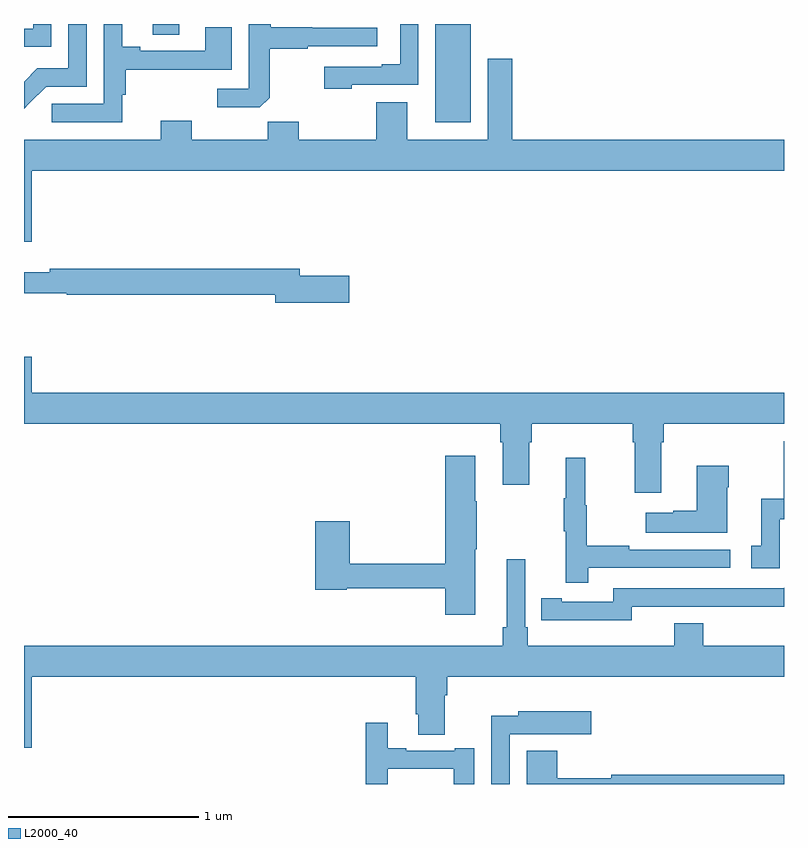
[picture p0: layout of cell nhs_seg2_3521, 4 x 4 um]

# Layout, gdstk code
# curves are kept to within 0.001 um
import gdstk
lib = gdstk.Library(unit=1e-6, precision=1e-09)
def R(c, l, rs):  # rectangles x0, y0, x1, y1
    for r in rs: c.add(gdstk.rectangle(r[:2], r[2:], *l))
def P(c, l, *ps):  # polygons
    for p in ps: c.add(gdstk.Polygon(p, *l))
L2000_40 = (2000, 40)

nhs_seg2_3521 = lib.new_cell('nhs_seg2_3521')
R(nhs_seg2_3521, L2000_40, [(299.165,589.283,299.35,589.8), (297.677,589.744,297.817,589.8)])
P(nhs_seg2_3521, L2000_40, [(297.025,589.38),(297.026,589.379),(297.117,589.47),(297.33,589.47),(297.33,589.8),(297.234,589.8),(297.234,589.566),(297.071,589.566),(297,589.495),(297,589.355)],
  [(297.518,589.427),(297.536,589.427),(297.536,589.558),(298.093,589.558),(298.093,589.784),(297.953,589.784),(297.953,589.659),(297.613,589.659),(297.613,589.679),(297.517,589.679),(297.517,589.8),(297.42,589.8),(297.42,589.38),(297.147,589.38),(297.147,589.284),(297.518,589.284)],
  [(297.144,589.8),(297.048,589.8),(297.048,589.776),(297,589.776),(297,589.68),(297.144,589.68)],
  [(298.293,589.413),(298.293,589.671),(298.493,589.671),(298.493,589.683),(298.858,589.683),(298.858,589.78),(298.517,589.78),(298.517,589.784),(298.298,589.784),(298.298,589.8),(298.182,589.8),(298.182,589.458),(298.017,589.458),(298.017,589.362),(298.241,589.362)],
  [(298.725,589.479),(299.076,589.479),(299.076,589.8),(298.98,589.8),(298.98,589.588),(298.883,589.588),(298.883,589.575),(298.581,589.575),(298.581,589.46),(298.725,589.46)],
  [(297.04,589.028),(301,589.028),(301,589.192),(299.57,589.192),(299.57,589.618),(299.441,589.618),(299.441,589.192),(299.017,589.192),(299.017,589.387),(298.853,589.387),(298.853,589.192),(298.447,589.192),(298.447,589.285),(298.283,589.285),(298.283,589.192),(297.883,589.192),(297.883,589.291),(297.719,589.291),(297.719,589.192),(297,589.192),(297,588.654),(297.04,588.654)],
  [(298.711,588.476),(298.45,588.476),(298.45,588.512),(297.136,588.512),(297.136,588.493),(297,588.493),(297,588.384),(297.226,588.384),(297.226,588.376),(298.322,588.376),(298.322,588.334),(298.711,588.334)],
  [(297.04,588.049),(297,588.049),(297,587.696),(299.507,587.696),(299.507,587.6),(299.519,587.6),(299.519,587.376),(299.659,587.376),(299.659,587.6),(299.672,587.6),(299.672,587.696),(300.203,587.696),(300.203,587.6),(300.215,587.6),(300.215,587.334),(300.355,587.334),(300.355,587.6),(300.368,587.6),(300.368,587.696),(301,587.696),(301,587.86),(297.04,587.86)],
  [(300.978,587.193),(301,587.193),(301,587.604),(300.999,587.604),(300.999,587.302),(300.881,587.302),(300.881,587.055),(300.828,587.055),(300.828,586.935),(300.978,586.935)],
  [(299.374,587.035),(299.382,587.035),(299.382,587.288),(299.374,587.288),(299.374,587.527),(299.216,587.527),(299.216,586.958),(298.715,586.958),(298.715,587.182),(298.532,587.182),(298.532,586.822),(298.698,586.822),(298.698,586.83),(299.216,586.83),(299.216,586.692),(299.374,586.692)],
  [(299.969,586.938),(300.718,586.938),(300.718,587.034),(300.185,587.034),(300.185,587.054),(299.962,587.054),(299.962,587.268),(299.954,587.268),(299.954,587.518),(299.852,587.518),(299.852,587.305),(299.841,587.305),(299.841,587.131),(299.852,587.131),(299.852,586.86),(299.969,586.86)],
  [(300.7,587.363),(300.708,587.363),(300.708,587.476),(300.542,587.476),(300.542,587.237),(300.416,587.237),(300.416,587.227),(300.273,587.227),(300.273,587.123),(300.7,587.123)],
  [(297.04,586.364),(299.063,586.364),(299.063,586.168),(299.075,586.168),(299.075,586.06),(299.215,586.06),(299.215,586.268),(299.228,586.268),(299.228,586.364),(301,586.364),(301,586.528),(300.575,586.528),(300.575,586.645),(300.422,586.645),(300.422,586.528),(299.651,586.528),(299.651,586.624),(299.637,586.624),(299.637,586.984),(299.54,586.984),(299.54,586.624),(299.521,586.624),(299.521,586.528),(297,586.528),(297,585.99),(297.04,585.99)],
  [(300.198,586.734),(301,586.733),(301,586.834),(300.996,586.83),(300.102,586.83),(300.102,586.758),(299.83,586.758),(299.83,586.778),(299.722,586.778),(299.722,586.662),(300.198,586.661)],
  [(299.556,586.062),(299.763,586.062),(299.763,586.061),(299.986,586.061),(299.986,586.183),(299.601,586.183),(299.601,586.16),(299.46,586.16),(299.46,585.8),(299.556,585.8)],
  [(298.914,585.879),(299.261,585.879),(299.261,585.8),(299.371,585.8),(299.371,585.988),(299.267,585.988),(299.267,585.975),(299.011,585.975),(299.011,585.988),(298.915,585.988),(298.915,586.123),(298.798,586.123),(298.798,585.8),(298.914,585.8)],
  [(301,585.848),(300.09,585.848),(300.09,585.831),(299.807,585.831),(299.807,585.976),(299.645,585.976),(299.645,585.8),(301,585.8)])

lib.write_gds('nhs_seg2_3521.gds')
